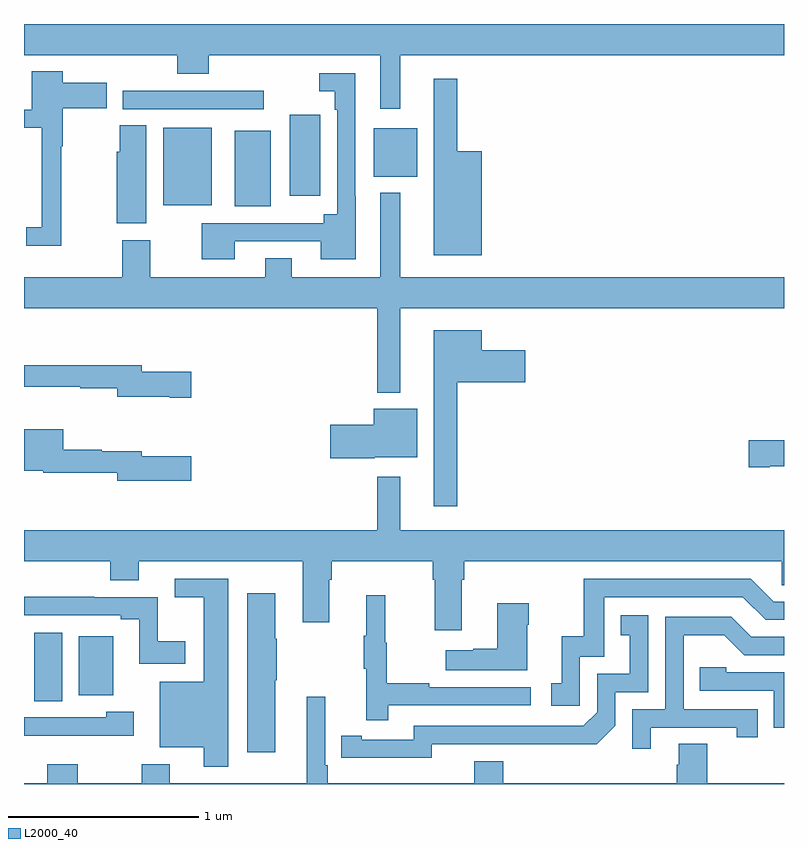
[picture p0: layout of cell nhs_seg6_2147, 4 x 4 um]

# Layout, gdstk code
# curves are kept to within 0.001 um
import gdstk
lib = gdstk.Library(unit=1e-6, precision=1e-09)
def R(c, l, rs):  # rectangles x0, y0, x1, y1
    for r in rs: c.add(gdstk.rectangle(r[:2], r[2:], *l))
def P(c, l, *ps):  # polygons
    for p in ps: c.add(gdstk.Polygon(p, *l))
L2000_40 = (2000, 40)

nhs_seg6_2147 = lib.new_cell('nhs_seg6_2147')
R(nhs_seg6_2147, L2000_40, [(239.054,943.936,239.2,944.296), (239.288,943.967,239.47,944.278), (240.11,946.541,240.298,946.939), (239.732,946.547,239.989,946.954), (240.398,946.596,240.559,947.023), (240.842,946.697,241.069,946.951), (239.521,947.052,240.262,947.148)])
P(nhs_seg6_2147, L2000_40, [(240.979,947.336),(243,947.336),(243,947.5),(239,947.5),(239,947.336),(239.807,947.336),(239.807,947.237),(239.972,947.237),(239.972,947.336),(240.875,947.336),(240.875,947.055),(240.979,947.055)],
  [(239.195,946.856),(239.203,946.856),(239.203,947.057),(239.436,947.057),(239.436,947.191),(239.204,947.191),(239.204,947.251),(239.042,947.251),(239.042,947.049),(239,947.049),(239,946.953),(239.094,946.953),(239.094,946.431),(239.013,946.431),(239.013,946.334),(239.195,946.334)],
  [(240.109,946.356),(240.563,946.356),(240.563,946.262),(240.745,946.262),(240.745,946.594),(240.744,946.594),(240.744,947.241),(240.555,947.241),(240.555,947.145),(240.636,947.145),(240.636,947.048),(240.648,947.048),(240.648,946.498),(240.578,946.498),(240.578,946.452),(239.936,946.452),(239.936,946.262),(240.109,946.262)],
  [(241.408,946.831),(241.279,946.831),(241.279,947.212),(241.157,947.212),(241.157,946.283),(241.408,946.283)],
  [(239.644,946.967),(239.503,946.967),(239.503,946.827),(239.489,946.827),(239.489,946.451),(239.644,946.451)],
  [(240.979,946.004),(243,946.004),(243,946.168),(240.979,946.168),(240.979,946.612),(240.875,946.612),(240.875,946.168),(240.409,946.168),(240.409,946.267),(240.269,946.267),(240.269,946.168),(239.665,946.168),(239.665,946.363),(239.518,946.363),(239.518,946.168),(239,946.168),(239,946.004),(240.858,946.004),(240.858,945.56),(240.979,945.56)],
  [(241.279,945.614),(241.639,945.614),(241.639,945.784),(241.408,945.784),(241.408,945.889),(241.157,945.889),(241.157,944.961),(241.279,944.961)],
  [(239.881,945.669),(239.62,945.669),(239.62,945.703),(239,945.703),(239,945.592),(239.296,945.592),(239.296,945.582),(239.492,945.582),(239.492,945.539),(239.768,945.539),(239.768,945.532),(239.881,945.532)],
  [(240.846,945.221),(241.069,945.221),(241.069,945.475),(240.842,945.475),(240.842,945.392),(240.612,945.392),(240.612,945.214),(240.846,945.214)],
  [(239.881,945.225),(239.62,945.225),(239.62,945.251),(239.409,945.251),(239.409,945.259),(239.206,945.259),(239.206,945.367),(239,945.367),(239,945.149),(239.102,945.149),(239.102,945.138),(239.492,945.138),(239.492,945.095),(239.881,945.095)],
  [(242.926,945.173),(243,945.173),(243,945.308),(242.814,945.308),(242.814,945.166),(242.926,945.166)],
  [(241.303,944.576),(241.316,944.576),(241.316,944.672),(242.988,944.672),(242.988,944.545),(243,944.545),(243,944.836),(240.979,944.836),(240.979,945.118),(240.858,945.118),(240.858,944.836),(239,944.836),(239,944.672),(239.453,944.672),(239.453,944.573),(239.605,944.573),(239.605,944.672),(240.467,944.672),(240.467,944.352),(240.607,944.352),(240.607,944.576),(240.62,944.576),(240.62,944.672),(241.151,944.672),(241.151,944.576),(241.163,944.576),(241.163,944.31),(241.303,944.31)],
  [(241.926,944.169),(242.055,944.169),(242.055,944.484),(242.784,944.484),(242.904,944.364),(243,944.364),(243,944.46),(242.946,944.46),(242.826,944.58),(241.947,944.58),(241.947,944.278),(241.829,944.278),(241.829,944.031),(241.776,944.031),(241.776,943.911),(241.926,943.911)],
  [(240.076,944.58),(239.793,944.58),(239.793,944.482),(239.945,944.482),(239.945,944.038),(239.714,944.038),(239.714,943.694),(239.945,943.694),(239.945,943.59),(240.076,943.59)],
  [(240.322,944.047),(240.33,944.047),(240.33,944.264),(240.322,944.264),(240.322,944.503),(240.176,944.503),(240.176,943.668),(240.322,943.668)],
  [(240.917,943.914),(241.666,943.914),(241.666,944.01),(241.133,944.01),(241.133,944.03),(240.91,944.03),(240.91,944.244),(240.902,944.244),(240.902,944.494),(240.8,944.494),(240.8,944.281),(240.789,944.281),(240.789,944.107),(240.8,944.107),(240.8,943.836),(240.917,943.836)],
  [(239.848,944.251),(239.703,944.251),(239.703,944.484),(239.369,944.484),(239.369,944.486),(239,944.486),(239,944.388),(239.51,944.388),(239.51,944.368),(239.606,944.368),(239.606,944.132),(239.848,944.132)],
  [(241.648,944.339),(241.656,944.339),(241.656,944.452),(241.49,944.452),(241.49,944.213),(241.364,944.213),(241.364,944.203),(241.221,944.203),(241.221,944.099),(241.648,944.099)],
  [(241.146,943.71),(242.014,943.709),(242.112,943.806),(242.112,943.983),(242.286,943.983),(242.286,944.389),(242.14,944.389),(242.14,944.283),(242.189,944.283),(242.189,944.079),(242.016,944.079),(242.016,943.878),(241.944,943.806),(241.05,943.806),(241.05,943.734),(240.778,943.734),(240.778,943.754),(240.67,943.754),(240.67,943.638),(241.146,943.637)],
  [(242.299,943.797),(242.75,943.797),(242.75,943.746),(242.861,943.746),(242.861,943.893),(242.472,943.893),(242.472,944.282),(242.686,944.282),(242.79,944.178),(243,944.178),(243,944.274),(242.827,944.274),(242.722,944.379),(242.376,944.379),(242.376,943.893),(242.202,943.893),(242.202,943.686),(242.299,943.686)],
  [(243,944.088),(242.697,944.088),(242.697,944.115),(242.557,944.115),(242.557,943.992),(242.946,943.992),(242.946,943.797),(243,943.797)],
  [(243,943.504),(242.595,943.504),(242.595,943.712),(242.447,943.712),(242.447,943.602),(242.435,943.602),(242.435,943.504),(241.523,943.504),(241.523,943.621),(241.37,943.621),(241.37,943.504),(240.599,943.504),(240.599,943.6),(240.585,943.6),(240.585,943.96),(240.488,943.96),(240.488,943.504),(239.767,943.504),(239.767,943.603),(239.62,943.603),(239.62,943.504),(239.283,943.504),(239.283,943.603),(239.123,943.603),(239.123,943.504),(239,943.504),(239,943.5),(243,943.5)],
  [(239.578,943.879),(239.433,943.879),(239.433,943.851),(239,943.851),(239,943.754),(239.578,943.754)])

lib.write_gds('nhs_seg6_2147.gds')
